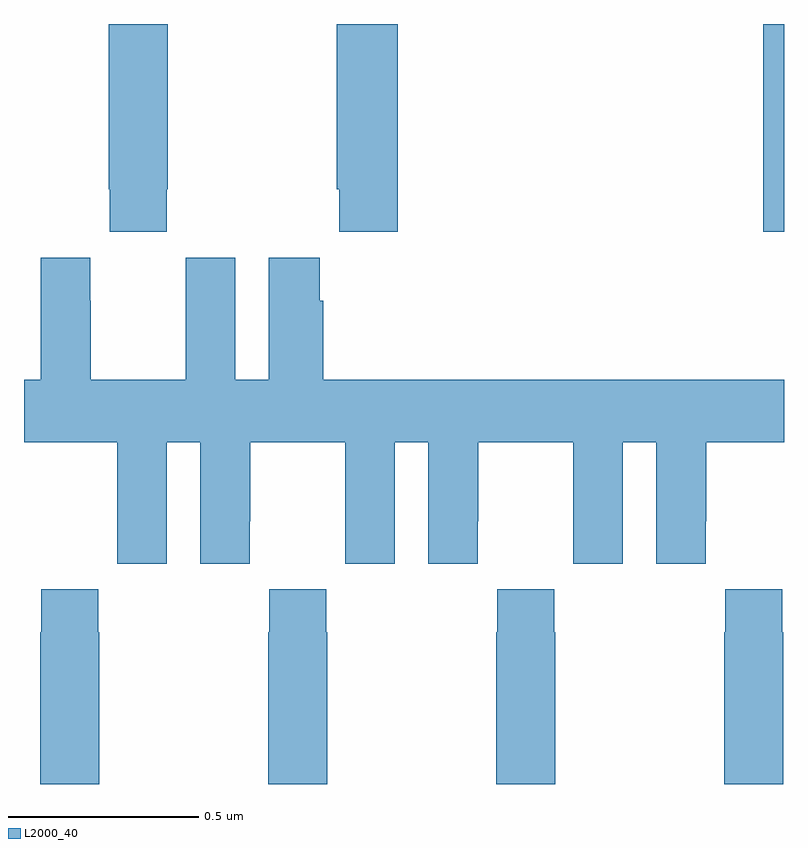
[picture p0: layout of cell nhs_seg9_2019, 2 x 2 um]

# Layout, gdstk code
import gdstk
lib = gdstk.Library(unit=1e-6, precision=1e-09)
def R(c, l, rs):  # rectangles x0, y0, x1, y1
    for r in rs: c.add(gdstk.rectangle(r[:2], r[2:], *l))
def P(c, l, *ps):  # polygons
    for p in ps: c.add(gdstk.Polygon(p, *l))
L2000_40 = (2000, 40)

nhs_seg9_2019 = lib.new_cell('nhs_seg9_2019')
R(nhs_seg9_2019, L2000_40, [(136.946,1216.953,137,1217.5)])
P(nhs_seg9_2019, L2000_40, [(135.375,1217.065),(135.378,1217.065),(135.378,1217.5),(135.223,1217.5),(135.223,1217.065),(135.225,1217.065),(135.225,1216.953),(135.375,1216.953)],
  [(135.983,1217.5),(135.823,1217.5),(135.823,1217.065),(135.829,1217.065),(135.829,1216.953),(135.983,1216.953)],
  [(135.376,1216.4),(135.464,1216.4),(135.464,1216.08),(135.594,1216.08),(135.594,1216.192),(135.595,1216.192),(135.595,1216.4),(135.845,1216.4),(135.845,1216.192),(135.846,1216.192),(135.846,1216.08),(135.976,1216.08),(135.976,1216.4),(136.064,1216.4),(136.064,1216.08),(136.194,1216.08),(136.194,1216.192),(136.195,1216.192),(136.195,1216.4),(136.445,1216.4),(136.445,1216.192),(136.446,1216.192),(136.446,1216.08),(136.576,1216.08),(136.576,1216.4),(136.664,1216.4),(136.664,1216.08),(136.794,1216.08),(136.794,1216.192),(136.795,1216.192),(136.795,1216.4),(137,1216.4),(137,1216.564),(135.788,1216.564),(135.788,1216.772),(135.778,1216.772),(135.778,1216.885),(135.644,1216.885),(135.644,1216.564),(135.556,1216.564),(135.556,1216.885),(135.426,1216.885),(135.426,1216.772),(135.425,1216.772),(135.425,1216.564),(135.175,1216.564),(135.175,1216.772),(135.174,1216.772),(135.174,1216.885),(135.044,1216.885),(135.044,1216.564),(135,1216.564),(135,1216.4),(135.245,1216.4),(135.245,1216.192),(135.246,1216.192),(135.246,1216.08),(135.376,1216.08)],
  [(135.198,1215.899),(135.195,1215.899),(135.195,1216.012),(135.045,1216.012),(135.045,1215.899),(135.043,1215.899),(135.043,1215.5),(135.198,1215.5)],
  [(135.798,1215.899),(135.795,1215.899),(135.795,1216.012),(135.645,1216.012),(135.645,1215.899),(135.643,1215.899),(135.643,1215.5),(135.798,1215.5)],
  [(136.398,1215.899),(136.395,1215.899),(136.395,1216.012),(136.245,1216.012),(136.245,1215.899),(136.243,1215.899),(136.243,1215.5),(136.398,1215.5)],
  [(136.998,1215.899),(136.995,1215.899),(136.995,1216.012),(136.845,1216.012),(136.845,1215.899),(136.843,1215.899),(136.843,1215.5),(136.998,1215.5)])

lib.write_gds('nhs_seg9_2019.gds')
